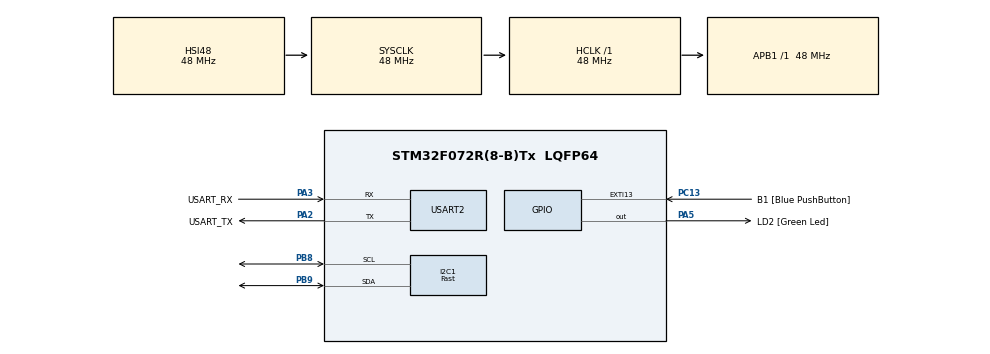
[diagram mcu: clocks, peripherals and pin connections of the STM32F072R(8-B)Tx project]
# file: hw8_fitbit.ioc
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FREERTOS.Tasks01=defaultTask,24,128,StartDefaultTask,Default,NULL,Dynamic,NULL,NULL
I2C1.I2C_Speed_Mode=I2C_Fast
I2C1.Timing=0x0000020B
Mcu.Family=STM32F0
Mcu.Name=STM32F072R(8-B)Tx
Mcu.Package=LQFP64
NVIC.I2C1_IRQn=true\:3\:0\:false\:false\:true\:true\:true\:true
NVIC.TIM1_BRK_UP_TRG_COM_IRQn=true\:0\:0\:false\:false\:true\:false\:false\:true
NVIC.TIM6_DAC_IRQn=true\:3\:0\:false\:false\:true\:true\:true\:true
NVIC.TimeBase=TIM1_BRK_UP_TRG_COM_IRQn
NVIC.TimeBaseIP=TIM1
PA13.GPIO_Label=TMS
PA13.Mode=Serial_Wire
PA13.Signal=SYS_SWDIO
PA14.GPIO_Label=TCK
PA14.Mode=Serial_Wire
PA14.Signal=SYS_SWCLK
PA2.GPIO_Label=USART_TX
PA2.GPIO_Mode=GPIO_MODE_AF_PP
PA2.GPIO_PuPd=GPIO_NOPULL
PA2.GPIO_Speed=GPIO_SPEED_FREQ_LOW
PA2.Mode=Asynchronous
PA2.Signal=USART2_TX
PA3.GPIO_Label=USART_RX
PA3.GPIO_Mode=GPIO_MODE_AF_PP
PA3.GPIO_PuPd=GPIO_NOPULL
PA3.GPIO_Speed=GPIO_SPEED_FREQ_LOW
PA3.Mode=Asynchronous
PA3.Signal=USART2_RX
PA5.GPIO_Label=LD2 [Green Led]
PA5.GPIO_Mode=GPIO_MODE_OUTPUT_PP
PA5.GPIO_PuPd=GPIO_NOPULL
PA5.GPIO_Speed=GPIO_SPEED_FREQ_LOW
PA5.Signal=GPIO_Output
PB8.Mode=I2C
PB8.Signal=I2C1_SCL
PB9.Mode=I2C
PB9.Signal=I2C1_SDA
PC13.GPIO_Label=B1 [Blue PushButton]
PC13.GPIO_ModeDefaultEXTI=GPIO_MODE_IT_FALLING
PC13.Signal=GPXTI13
PC14-OSC32_IN.Mode=LSE-External-Oscillator
PC14-OSC32_IN.Signal=RCC_OSC32_IN
PC15-OSC32_OUT.Mode=LSE-External-Oscillator
PC15-OSC32_OUT.Signal=RCC_OSC32_OUT
PF0-OSC_IN.Mode=HSE-External-Clock-Source
PF0-OSC_IN.Signal=RCC_OSC_IN
PF1-OSC_OUT.Signal=RCC_OSC_OUT
ProjectManager.HeapSize=0x200
ProjectManager.StackSize=0x400
ProjectManager.TargetToolchain=STM32CubeIDE
RCC.AHBFreq_Value=48000000
RCC.APB1Freq_Value=48000000
RCC.APB1TimFreq_Value=48000000
RCC.FLatency-AdvancedSettings=FLASH_LATENCY_1
RCC.HCLKFreq_Value=48000000
RCC.PLLDivider=RCC_PREDIV_DIV2
RCC.PLLMUL=RCC_PLL_MUL12
RCC.PREFETCH_ENABLE-AdvancedSettings=1
RCC.SYSCLKFreq_VALUE=48000000
RCC.SYSCLKSource=RCC_SYSCLKSOURCE_HSI48
TIM14.Period=9999
TIM14.Prescaler=479
TIM15.Period=9999
TIM15.Prescaler=47900
TIM16.Period=20000
TIM16.Prescaler=47900
TIM2.Period=100000000
TIM2.Prescaler=48
TIM6.AutoReloadPreload=TIM_AUTORELOAD_PRELOAD_ENABLE
TIM6.Period=9999
TIM6.Prescaler=47900
TIM6.TIM_MasterOutputTrigger=TIM_TRGO_RESET
TIM7.Period=20000
TIM7.Prescaler=479
USART2.VirtualMode=VM_ASYNC
USART2.VirtualMode-Asynchronous=VM_ASYNC
VP_FREERTOS_VS_CMSIS_V2.Mode=CMSIS_V2
VP_SYS_VS_tim1.Mode=TIM1
VP_TIM14_VS_ClockSourceINT.Mode=Enable_Timer
VP_TIM15_VS_ClockSourceINT.Mode=Internal
VP_TIM16_VS_ClockSourceINT.Mode=Enable_Timer
VP_TIM2_VS_ClockSourceINT.Mode=Internal
VP_TIM6_VS_ClockSourceINT.Mode=Enable_Timer
VP_TIM7_VS_ClockSourceINT.Mode=Enable_Timer
board=NUCLEO-F072RB

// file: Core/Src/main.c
/* USER CODE BEGIN Header */
/**
  ******************************************************************************
  * @file           : main.c
  * @brief          : Main program body
  ******************************************************************************
  * @attention
  *
  * <h2><center>&copy; Copyright (c) 2020 STMicroelectronics.
  * All rights reserved.</center></h2>
  *
  * This software component is licensed by ST under BSD 3-Clause license,
  * the "License"; You may not use this file except in compliance with the
  * License. You may obtain a copy of the License at:
  *                        opensource.org/licenses/BSD-3-Clause
  *
  ******************************************************************************
  */
/* USER CODE END Header */

#include "main.h"
#include "cmsis_os.h"

/* USER CODE BEGIN Includes */
#include <stdio.h>
#include <stdlib.h>
#include <stdint.h>
#include <string.h>
#include <math.h>
#include "retarget.h"
#include "hw8_heartRate.h"
/* USER CODE END Includes */

I2C_HandleTypeDef hi2c1;

TIM_HandleTypeDef htim2;
TIM_HandleTypeDef htim6;
TIM_HandleTypeDef htim7;
TIM_HandleTypeDef htim14;
TIM_HandleTypeDef htim15;
TIM_HandleTypeDef htim16;

UART_HandleTypeDef huart2;

osThreadId_t defaultTaskHandle;
/* USER CODE BEGIN PV */
#define MPU6500_ADDR 0x68<<1				// ACCELEROMETER //
#define MPU6500_RA_WHO_AM_I 0x75			// who am i???
int accel_cnt = 0;							// sample count
int ac_avg_cnt = 0;							// count for averaging accelerations
int32_t ax_avg, ay_avg, az_avg;				// averages for accel
int32_t avg;
int time_accel_raw;							// acceleration time
int time_accel;								// acceleration time
int32_t ax, ay, az, xangle, yangle;			// acceleration X,Y,Z and X angle and Y angle
uint8_t bud[6];								// buffer to read raw accel data
mpu_sample_t sample_accel;					// accel struct to r/w to
mpu_sample_t accel_o;						// accel struct to r/w to

osThreadId_t TID1, TID2, TID3;				// THREADS //
osMutexId_t I2C1_MUTEX_ID;					// mutex
osMessageQueueId_t QUEUE_ID, A_QUEUE_ID;	// queues
char printbuf[1000];						// print buffer
#define MSGQUEUE_OBJECTS 16					// something defined in example so why not

#define MAX30102_ADDR 0xae					// HEARTRATE MONITOR //
#define MAX30102_PARTID 0xFF				// HR ID
#define Mode_Config 0x09					// was going to #define each ADDR for MAX30102 but got lazy
uint8_t buf[6];								// buffer for HR monitor set up and read
uint8_t bul[6];								// buffer to read hr from
uint32_t heart_sample, another_hr;			// heartrate samples
uint32_t heartrate[4], hr[10];				// arrays to average HR
int count1 = 0, count2 = 0, count3 = 0;		// counters for hr sample processing
int hr1, hr2, hr_read1 = 0, hr_read2 = 0;	// current & old count of HR samples
const int num_beats = 10;					// for smoothing/averaging 10 beats
int hr_cnt = 0;								// current count of hr samples read (debugging)
int hr_10cnt = 0;							// counter to not start displaying bpm
int hr_time_raw = 0, hr_time = 0;			// time it takes to read num of hr_cnt (debugging)
int hr_total = 0;							// smoothing var
int hr_FINAL = 0;							// final HR to print
int hr_current = 0;							// smoothing var
int old_hr_reading = 0;						// 1 if old reading, 0 otherwise
typedef struct{								// struct for HR QUEUE
	uint32_t hr_buf;						// heart rate buffer
	uint8_t Idx;							// id bc it was in the example so why not
} MSGQUEUE_OBJ_t;							// name of struct
MSGQUEUE_OBJ_t msg;							// declare a struct for hr
int total_time = 0;							// total time passed of program
uint8_t last_beat = 1;						// instance var for measuring time since last beat
int last_beat_time = 0;					// variable to store time count of first beat

uint8_t var1;								// DOUBLE TAP //
uint32_t prev_z = 0;						// Store previous z reading for comparison
uint32_t thresh = 3000;  					// CHANGE depending on force for tap
uint32_t lat = 40;							// CHANGE depending on how fast Z is read
uint8_t start_up_tap = 0;					// tap count for initial start up
uint8_t start_up = 0;						// instance for triple tap condition
int tap = 0;								// current tap count
uint8_t mode = 1;							// current mode count
uint8_t mode2_delay1 = 0, mode2_delay2 = 0;	// checkForBeat returns twice per beat (for most part), reduce to once per beat
uint8_t display_mode = 0;					// a random counter
uint8_t idle_mode = 0, init_hr = 1;			// 1 if idle mode is entered. 1 if need to initialize hr monitor

/* USER CODE END PV */

void SystemClock_Config(void);
static void MX_GPIO_Init(void);
static void MX_USART2_UART_Init(void);
static void MX_I2C1_Init(void);
static void MX_TIM6_Init(void);
static void MX_TIM7_Init(void);
static void MX_TIM2_Init(void);
static void MX_TIM14_Init(void);
static void MX_TIM15_Init(void);
static void MX_TIM16_Init(void);
void StartDefaultTask(void *argument);

/* USER CODE BEGIN PFP */
void ThreadFunc1(void *argument);
void ThreadFunc2(void *argument);
void ThreadFunc3(void *argument);

void HAL_TIM_PeriodElapsedCallback(TIM_HandleTypeDef* htim);
void HAL_I2C_MemRxCpltCallback(I2C_HandleTypeDef* hi2c);
void HAL_I2C_ErrorCallBack(I2C_HandleTypeDef *hi2c);
void UART2_SendString(char* printbuf);
void initialize_HR();

HAL_StatusTypeDef HAL_TIM_Base_Start(TIM_HandleTypeDef *htim);

/* USER CODE END PFP */

int main(void)
{

  /* MCU Configuration--------------------------------------------------------*/

  /* Reset of all peripherals, Initializes the Flash interface and the Systick. */
  HAL_Init();

  /* Configure the system clock */
  SystemClock_Config();

  /* Initialize all configured peripherals */
  MX_GPIO_Init();
  MX_USART2_UART_Init();
  MX_I2C1_Init();
  MX_TIM6_Init();
  MX_TIM7_Init();
  MX_TIM2_Init();
  MX_TIM14_Init();
  MX_TIM15_Init();
  MX_TIM16_Init();
  /* USER CODE BEGIN 2 */
  HAL_TIM_Base_Start(&htim2);	//double tap timer
  HAL_TIM_Base_Start(&htim7);	//heart rate timer
  HAL_TIM_Base_Start(&htim6);	//interrupt timer
  HAL_TIM_Base_Start(&htim14);	//acceleration timer
  HAL_TIM_Base_Start(&htim15);	//longer timer to test
  HAL_TIM_Base_Start(&htim16);	//acceleration samples per second timer

  HAL_I2C_Init(&hi2c1);
  HAL_TIM_Base_Start_IT(&htim6);
  HAL_TIM_Base_MspInit(&htim6);

  RetargetInit(&huart2);

  // Print some nice info //
  printf("\r\n\r\nhello world!\r\n");					// the usual
  HAL_I2C_Mem_Read(&hi2c1, MPU6500_ADDR, MPU6500_RA_WHO_AM_I,I2C_MEMADD_SIZE_8BIT, bud, 1, 100);
  printf("Accelerometer ID = 0x%x \r\n", bud[0]);		// accelerometer ID = 0x70

  //heart rate monitor
  HAL_I2C_Mem_Read(&hi2c1, MAX30102_ADDR, MAX30102_PARTID, I2C_MEMADD_SIZE_8BIT, bul, 1, 100);
  printf("Heartrate monitor ID = 0x%x \r\n", bul[0]);   // HR ID = 0x15

  printf("\r\nRest finger on HR monitor for 10 heart beats to calibrate properly. . .\r\n"
		  "Keep finger as still as possible for best reading. Sometimes thumb gets better reading . . .\r\n"
		  "In HEARTBEAT MODE, press finger hard on sensor for best beat detections (otherwise may double read),\r\n"
		  "		though pressing too hard may give inaccurate BPMs. . .\r\n");
  printf("Have the serial monitor wide enough so it is wide enough to read this entireeeeeeeeeeeeeeeee line of text.\r\n\r\n");

  printf("Double tap to toggle between THREE MODES:\r\n\t-[1] SUMMARY MODE\r\n\t"
		  "-[2] HEARTBEAT MODE\r\n\t-[3] IDLE MODE\r\n\r\n");

  printf("--------------- TRIPLE TAP TO BEGIN ---------------\r\n\r\n");

  /* USER CODE END 2 */

  osKernelInitialize();

  /* USER CODE BEGIN RTOS_MUTEX */
  /* add mutexes, ... */
  I2C1_MUTEX_ID = osMutexNew(NULL);
  /* USER CODE END RTOS_MUTEX */

  /* USER CODE BEGIN RTOS_QUEUES */
  /* add queues, ... */
  //osMessageQueueId_t osMessageQueueNew (uint32_t msg_count, uint32_t msg_size, const osMessageQueueAttr_t *attr);
  QUEUE_ID =  osMessageQueueNew(MSGQUEUE_OBJECTS, sizeof(MSGQUEUE_OBJ_t), NULL);	//HR queue
  A_QUEUE_ID =  osMessageQueueNew(16, 8, NULL);										//accel queue
  /* USER CODE END RTOS_QUEUES */

  /* Create the thread(s) */
  /* definition and creation of defaultTask */
  const osThreadAttr_t defaultTask_attributes = {
    .name = "defaultTask",
    .priority = (osPriority_t) osPriorityNormal,
    .stack_size = 128 * 4
  };
  defaultTaskHandle = osThreadNew(StartDefaultTask, NULL, &defaultTask_attributes);

  /* USER CODE BEGIN RTOS_THREADS */
  /* add threads, ... */

//  const osThreadAttr_t lowdefaultTask_attributes = {
//      .name = "lowdefaultTask",
//      .priority = (osPriority_t) osPriorityBelowNormal,
//      .stack_size = 128 * 4
//    };

  TID1 = osThreadNew(ThreadFunc1, NULL, NULL);		// HR
  TID2 = osThreadNew(ThreadFunc2, NULL, NULL);		// accel
  TID3 = osThreadNew(ThreadFunc3, NULL, NULL);		// printing

  /* USER CODE END RTOS_THREADS */

  /* Start scheduler */
  osKernelStart();

  /* We should never get here as control is now taken by the scheduler */

  /* Infinite loop */
  while (1)
  {

  }
}

void SystemClock_Config(void)
{
  RCC_OscInitTypeDef RCC_OscInitStruct = {0};
  RCC_ClkInitTypeDef RCC_ClkInitStruct = {0};
  RCC_PeriphCLKInitTypeDef PeriphClkInit = {0};

  /** Initializes the CPU, AHB and APB busses clocks
  */
  RCC_OscInitStruct.OscillatorType = RCC_OSCILLATORTYPE_HSI|RCC_OSCILLATORTYPE_HSI48;
  RCC_OscInitStruct.HSIState = RCC_HSI_ON;
  RCC_OscInitStruct.HSI48State = RCC_HSI48_ON;
  RCC_OscInitStruct.HSICalibrationValue = RCC_HSICALIBRATION_DEFAULT;
  RCC_OscInitStruct.PLL.PLLState = RCC_PLL_NONE;
  if (HAL_RCC_OscConfig(&RCC_OscInitStruct) != HAL_OK)
  {
    Error_Handler();
  }
  /** Initializes the CPU, AHB and APB busses clocks
  */
  RCC_ClkInitStruct.ClockType = RCC_CLOCKTYPE_HCLK|RCC_CLOCKTYPE_SYSCLK
                              |RCC_CLOCKTYPE_PCLK1;
  RCC_ClkInitStruct.SYSCLKSource = RCC_SYSCLKSOURCE_HSI48;
  RCC_ClkInitStruct.AHBCLKDivider = RCC_SYSCLK_DIV1;
  RCC_ClkInitStruct.APB1CLKDivider = RCC_HCLK_DIV1;

  if (HAL_RCC_ClockConfig(&RCC_ClkInitStruct, FLASH_LATENCY_1) != HAL_OK)
  {
    Error_Handler();
  }
  PeriphClkInit.PeriphClockSelection = RCC_PERIPHCLK_USART2|RCC_PERIPHCLK_I2C1;
  PeriphClkInit.Usart2ClockSelection = RCC_USART2CLKSOURCE_PCLK1;
  PeriphClkInit.I2c1ClockSelection = RCC_I2C1CLKSOURCE_HSI;
  if (HAL_RCCEx_PeriphCLKConfig(&PeriphClkInit) != HAL_OK)
  {
    Error_Handler();
  }
}

static void MX_I2C1_Init(void)
{

  hi2c1.Instance = I2C1;
  hi2c1.Init.Timing = 0x0000020B;
  hi2c1.Init.OwnAddress1 = 0;
  hi2c1.Init.AddressingMode = I2C_ADDRESSINGMODE_7BIT;
  hi2c1.Init.DualAddressMode = I2C_DUALADDRESS_DISABLE;
  hi2c1.Init.OwnAddress2 = 0;
  hi2c1.Init.OwnAddress2Masks = I2C_OA2_NOMASK;
  hi2c1.Init.GeneralCallMode = I2C_GENERALCALL_DISABLE;
  hi2c1.Init.NoStretchMode = I2C_NOSTRETCH_DISABLE;
  if (HAL_I2C_Init(&hi2c1) != HAL_OK)
  {
    Error_Handler();
  }
  /** Configure Analogue filter
  */
  if (HAL_I2CEx_ConfigAnalogFilter(&hi2c1, I2C_ANALOGFILTER_ENABLE) != HAL_OK)
  {
    Error_Handler();
  }
  /** Configure Digital filter
  */
  if (HAL_I2CEx_ConfigDigitalFilter(&hi2c1, 0) != HAL_OK)
  {
    Error_Handler();
  }

}

static void MX_TIM2_Init(void)
{

  TIM_ClockConfigTypeDef sClockSourceConfig = {0};
  TIM_MasterConfigTypeDef sMasterConfig = {0};

  htim2.Instance = TIM2;
  htim2.Init.Prescaler = 48;
  htim2.Init.CounterMode = TIM_COUNTERMODE_UP;
  htim2.Init.Period = 100000000;
  htim2.Init.ClockDivision = TIM_CLOCKDIVISION_DIV1;
  htim2.Init.AutoReloadPreload = TIM_AUTORELOAD_PRELOAD_DISABLE;
  if (HAL_TIM_Base_Init(&htim2) != HAL_OK)
  {
    Error_Handler();
  }
  sClockSourceConfig.ClockSource = TIM_CLOCKSOURCE_INTERNAL;
  if (HAL_TIM_ConfigClockSource(&htim2, &sClockSourceConfig) != HAL_OK)
  {
    Error_Handler();
  }
  sMasterConfig.MasterOutputTrigger = TIM_TRGO_RESET;
  sMasterConfig.MasterSlaveMode = TIM_MASTERSLAVEMODE_DISABLE;
  if (HAL_TIMEx_MasterConfigSynchronization(&htim2, &sMasterConfig) != HAL_OK)
  {
    Error_Handler();
  }

}

static void MX_TIM6_Init(void)
{

  TIM_MasterConfigTypeDef sMasterConfig = {0};

  htim6.Instance = TIM6;
  htim6.Init.Prescaler = 47900;
  htim6.Init.CounterMode = TIM_COUNTERMODE_UP;
  htim6.Init.Period = 9999;
  htim6.Init.AutoReloadPreload = TIM_AUTORELOAD_PRELOAD_ENABLE;
  if (HAL_TIM_Base_Init(&htim6) != HAL_OK)
  {
    Error_Handler();
  }
  sMasterConfig.MasterOutputTrigger = TIM_TRGO_RESET;
  sMasterConfig.MasterSlaveMode = TIM_MASTERSLAVEMODE_DISABLE;
  if (HAL_TIMEx_MasterConfigSynchronization(&htim6, &sMasterConfig) != HAL_OK)
  {
    Error_Handler();
  }

}

static void MX_TIM7_Init(void)
{

  TIM_MasterConfigTypeDef sMasterConfig = {0};

  htim7.Instance = TIM7;
  htim7.Init.Prescaler = 479;
  htim7.Init.CounterMode = TIM_COUNTERMODE_UP;
  htim7.Init.Period = 20000;
  htim7.Init.AutoReloadPreload = TIM_AUTORELOAD_PRELOAD_DISABLE;
  if (HAL_TIM_Base_Init(&htim7) != HAL_OK)
  {
    Error_Handler();
  }
  sMasterConfig.MasterOutputTrigger = TIM_TRGO_RESET;
  sMasterConfig.MasterSlaveMode = TIM_MASTERSLAVEMODE_DISABLE;
  if (HAL_TIMEx_MasterConfigSynchronization(&htim7, &sMasterConfig) != HAL_OK)
  {
    Error_Handler();
  }

}

static void MX_TIM14_Init(void)
{

  htim14.Instance = TIM14;
  htim14.Init.Prescaler = 479;
  htim14.Init.CounterMode = TIM_COUNTERMODE_UP;
  htim14.Init.Period = 9999;
  htim14.Init.ClockDivision = TIM_CLOCKDIVISION_DIV1;
  htim14.Init.AutoReloadPreload = TIM_AUTORELOAD_PRELOAD_DISABLE;
  if (HAL_TIM_Base_Init(&htim14) != HAL_OK)
  {
    Error_Handler();
  }

}

static void MX_TIM15_Init(void)
{

  TIM_ClockConfigTypeDef sClockSourceConfig = {0};
  TIM_MasterConfigTypeDef sMasterConfig = {0};

  htim15.Instance = TIM15;
  htim15.Init.Prescaler = 47900;
  htim15.Init.CounterMode = TIM_COUNTERMODE_UP;
  htim15.Init.Period = 9999;
  htim15.Init.ClockDivision = TIM_CLOCKDIVISION_DIV1;
  htim15.Init.RepetitionCounter = 0;
  htim15.Init.AutoReloadPreload = TIM_AUTORELOAD_PRELOAD_DISABLE;
  if (HAL_TIM_Base_Init(&htim15) != HAL_OK)
  {
    Error_Handler();
  }
  sClockSourceConfig.ClockSource = TIM_CLOCKSOURCE_INTERNAL;
  if (HAL_TIM_ConfigClockSource(&htim15, &sClockSourceConfig) != HAL_OK)
  {
    Error_Handler();
  }
  sMasterConfig.MasterOutputTrigger = TIM_TRGO_RESET;
  sMasterConfig.MasterSlaveMode = TIM_MASTERSLAVEMODE_DISABLE;
  if (HAL_TIMEx_MasterConfigSynchronization(&htim15, &sMasterConfig) != HAL_OK)
  {
    Error_Handler();
  }

}

static void MX_TIM16_Init(void)
{

  htim16.Instance = TIM16;
  htim16.Init.Prescaler = 47900;
  htim16.Init.CounterMode = TIM_COUNTERMODE_UP;
  htim16.Init.Period = 20000;
  htim16.Init.ClockDivision = TIM_CLOCKDIVISION_DIV1;
  htim16.Init.RepetitionCounter = 0;
  htim16.Init.AutoReloadPreload = TIM_AUTORELOAD_PRELOAD_DISABLE;
  if (HAL_TIM_Base_Init(&htim16) != HAL_OK)
  {
    Error_Handler();
  }

}

static void MX_USART2_UART_Init(void)
{

  huart2.Instance = USART2;
  huart2.Init.BaudRate = 38400;
  huart2.Init.WordLength = UART_WORDLENGTH_8B;
  huart2.Init.StopBits = UART_STOPBITS_1;
  huart2.Init.Parity = UART_PARITY_NONE;
  huart2.Init.Mode = UART_MODE_TX_RX;
  huart2.Init.HwFlowCtl = UART_HWCONTROL_NONE;
  huart2.Init.OverSampling = UART_OVERSAMPLING_16;
  huart2.Init.OneBitSampling = UART_ONE_BIT_SAMPLE_DISABLE;
  huart2.AdvancedInit.AdvFeatureInit = UART_ADVFEATURE_NO_INIT;
  if (HAL_UART_Init(&huart2) != HAL_OK)
  {
    Error_Handler();
  }

}

static void MX_GPIO_Init(void)
{
  GPIO_InitTypeDef GPIO_InitStruct = {0};

  /* GPIO Ports Clock Enable */
  __HAL_RCC_GPIOC_CLK_ENABLE();
  __HAL_RCC_GPIOF_CLK_ENABLE();
  __HAL_RCC_GPIOA_CLK_ENABLE();
  __HAL_RCC_GPIOB_CLK_ENABLE();

  /*Configure GPIO pin Output Level */
  HAL_GPIO_WritePin(LD2_GPIO_Port, LD2_Pin, GPIO_PIN_RESET);

  /*Configure GPIO pin : B1_Pin */
  GPIO_InitStruct.Pin = B1_Pin;
  GPIO_InitStruct.Mode = GPIO_MODE_IT_FALLING;
  GPIO_InitStruct.Pull = GPIO_NOPULL;
  HAL_GPIO_Init(B1_GPIO_Port, &GPIO_InitStruct);

  /*Configure GPIO pin : LD2_Pin */
  GPIO_InitStruct.Pin = LD2_Pin;
  GPIO_InitStruct.Mode = GPIO_MODE_OUTPUT_PP;
  GPIO_InitStruct.Pull = GPIO_NOPULL;
  GPIO_InitStruct.Speed = GPIO_SPEED_FREQ_LOW;
  HAL_GPIO_Init(LD2_GPIO_Port, &GPIO_InitStruct);

}

/* USER CODE BEGIN 4 */

//Thread for reading heartrate monitor at 50 samples per second, 			uses htim7
void ThreadFunc1(void *argument){
	(&htim7)->Instance->CNT = 0;
	(&htim6)->Instance->CNT = 0;
	while(1){
		// DON'T aquire Mutex unless timing is correct
		if ((&htim7)->Instance->CNT > 900 && mode != 3 &&osMutexAcquire(I2C1_MUTEX_ID, 0) == osOK){	// og is 1000, played with timing
			if(init_hr == 1) {
				initialize_HR();
				init_hr = 0;
			}
			HAL_I2C_Mem_Read(&hi2c1, MAX30102_ADDR, 0x00, I2C_MEMADD_SIZE_8BIT,  		//REG ADDR: 0x00
					(uint8_t *) buf, 1, 100);		//Poll Interrupt Status 1 register until PPG_RDY bit goes high
			while((buf[0] >> 6 & 0x1) != 1){
				HAL_I2C_Mem_Read(&hi2c1, MAX30102_ADDR, 0x00, I2C_MEMADD_SIZE_8BIT,  	//REG ADDR: 0x00
					(uint8_t *) buf, 1, 100);		//Poll Interrupt Status 1 register until PPG_RDY bit goes high
			}
			HAL_I2C_Mem_Read(&hi2c1, MAX30102_ADDR, 0x07, I2C_MEMADD_SIZE_8BIT, (uint8_t *) buf, 3, 100);
			msg.hr_buf = (buf[0] << 16) + (buf[1] << 8) + buf[2];

			osMessageQueuePut(QUEUE_ID, &msg, 0 , 0);		//returns osOK

			hr_cnt++;
			if(hr_cnt == 50){		//calibrate/check 50 samples/second
				hr_time_raw = (&htim6)->Instance->CNT;
				hr_cnt = 0;
				(&htim6)->Instance->CNT = 0;	//use to check time to run for samples/second
			}
			(&htim7)->Instance->CNT = 0;
			osMutexRelease(I2C1_MUTEX_ID);
			osThreadYield();
		}
	}
}

// Thread for Accelerometer at 200 samples per second, 					   	uses htim14 & htim16
void ThreadFunc2(void *argument){
//	UART2_SendString("Thread 2 entered\r\n");
	accel_cnt = 0;
	(&htim14)->Instance->CNT = 0;										// 200Hz timer
	(&htim16)->Instance->CNT = 0;										// accel samples per second timer
	while(1){				// DON'T aquire Mutex unless timing is correct
		if ((&htim14)->Instance->CNT > 140 && osMutexAcquire(I2C1_MUTEX_ID, 0) == osOK){ //og is 200, played with timing

			HAL_I2C_Mem_Read(&hi2c1, MPU6500_ADDR, MPU6500_RA_ACCEL_XOUT_H, I2C_MEMADD_SIZE_8BIT, bud, 6, 100);
			sample_accel.accelX = (bud[0] << 8) + bud[1]; // X axis
			sample_accel.accelY = (bud[2] << 8) + bud[3]; // Y axis
			sample_accel.accelZ = (bud[4] << 8) + bud[5]; // Z axis

			osMessageQueuePut(A_QUEUE_ID, &sample_accel, 1 , 0);		// returns osOK

			accel_cnt++;												// add counter for num samples read
			if(accel_cnt == 200){										// Once 200 samples are read
				time_accel_raw = (&htim16)->Instance->CNT;				// get time it takes to read 200 samples
				accel_cnt = 0;											// reset counter for samples read
				(&htim16)->Instance->CNT = 0;							// reset timer for accel samples/sec
			}

			(&htim14)->Instance->CNT = 0;
			osMutexRelease(I2C1_MUTEX_ID);
			osThreadYield();
		}
	}
}

// Thread to Print data													// uses htim15
void ThreadFunc3(void *argument){						// TA said don't need to explicitly make lower priority
	//printf("thread 3 reached\r\b");
	hr1 = 0, hr2 = 0;					// set heart rate counts to 0
	count1 = 0,	count2 = 0;				// counters for heart rate

	ax = 0,	ay = 0, az = 0;				// acceleration vars
	ax_avg = 0, ay_avg = 0, az_avg = 0;	// acceleration average vars
	xangle = 0, yangle = 0;				// acceleration angles
	time_accel = 0;
	tap = 0;

	(&htim15)->Instance->CNT = 0;
	(&htim2)->Instance->CNT = 0;
	while(1){
		if (osMutexAcquire(I2C1_MUTEX_ID, 0) == osOK){
//			UART2_SendString("Thread 3 aquired\r\n");

//			// Get from QUEUE //
			osMessageQueueGet(QUEUE_ID, &msg, NULL, 0);					// returns osOK for HR
			osMessageQueueGet(A_QUEUE_ID, &sample_accel, NULL, 0);		// returns osOK for Accel

//			// DOUBLE TAP BEGIN //
			// -single tap- //
			if(abs(sample_accel.accelZ - prev_z) > thresh && tap < 1){
				tap = 1;
				(&htim2)->Instance->CNT = 0;
			  }
			// -double tap- //
			if(tap >= lat){  								  // condition of lat is to wait for excess noise to pass
				if(abs(sample_accel.accelZ - prev_z) > thresh && (&htim2)->Instance->CNT < 250000){
					if(start_up_tap){
						mode++;
						if (mode >= 4) mode = 1;
						sprintf(printbuf,"Double tap! Switching to mode [%d]. . .\r\n", mode);
						HAL_UART_Transmit(&huart2, (uint8_t *)printbuf, strlen(printbuf), 100);
						display_mode = 1;
						tap = 0;
					}
					(&htim2)->Instance->CNT = 0;
					start_up = 1;
				} else if((&htim2)->Instance->CNT >250000){
					tap = 0;
					(&htim2)->Instance->CNT = 0;
				}
			}
			// -triple tap cuz why not- //
			if(!start_up_tap && start_up && tap >= 2 * lat){  // condition of lat is to wait for excess noise to pass
				if(abs(sample_accel.accelZ - prev_z) > thresh && (&htim2)->Instance->CNT < 250000){
					sprintf(printbuf,"---------- Triple tap detected! Starting MODE [1] ----------\r\n");
					display_mode = 1;
					HAL_UART_Transmit(&huart2, (uint8_t *)printbuf, strlen(printbuf), 100);
					start_up_tap = 1;
					tap = 0;
				} else if((&htim2)->Instance->CNT > 250000){
					tap = 0;
					(&htim2)->Instance->CNT = 0;
				}
			}
			if(tap >= 1) tap++;
			prev_z = sample_accel.accelZ;
//			// DOUBLE TAP END //

//			// MODE DISPLAY BEGIN //
			if(display_mode){										// only print MODE if double tap detected
				switch(mode){
				case 1:
					UART2_SendString("[1] SUMMARY MODE\r\n");		// print current mode
					UART2_SendString("(total    )|    X |     Y |     Z |(Xdeg,Ydeg)| Accel.,  HR | Heartrate"
						"\r\n(time     )|\t  |\t  |\t  |\t      | samples per | BPM\r\n(elapsed  )|");
					UART2_SendString("\t  |\t  |\t  |\t      | second      |\r\n\r");
					display_mode = 0;								// don't print again until next double tap
					init_hr = 1;									// need to initialize HR after SHDN in MODE [3]
					break;
				case 2:
					UART2_SendString("[2] HEARTBEAT MODE - Prints when a heartbeat is detected!\r\n");
					UART2_SendString("[t elasped]| Pulse detected? |Time since|  Heartrate (BPM)\r\n             last beat\r\n");
					display_mode = 0;
					break;
				case 3:
					UART2_SendString("[3] IDLE MODE - double tap to wake up\r\n");
					display_mode = 0;
					idle_mode = 1;
					break;
				default:
					UART2_SendString("no mode selected somehow\r\n");//should never run
					display_mode = 0;
				}
			}
//			// MODE DISPLAY END //

//  		// ACCELEROMETER BEGIN //
			if(mode == 1){
				time_accel = (200 * 1000) / time_accel_raw;			// accel samples per second
				hr_time    = (50 * 1000) / hr_time_raw;				// heartrate samples per second

				ax = sample_accel.accelX;							// add up samples to average (wasn't as clean so taken out)
				ay = sample_accel.accelY;
				az = sample_accel.accelZ;
				if(accel_cnt == 199){ 				// avg and third degree polynomial regression models,
//					ax_avg = ax/time_accel;			// don't calculate too often to prevent wasted resources
//					ay_avg = ay/time_accel;
//					az_avg = az/time_accel;
					xangle = 3.87+(ax*-2.65*pow(10,-3))+(1.34*pow(10,-8)*pow(ax,2))+(-1.03*pow(10,-11)*pow(ax,3));
					yangle = 3.52+(ay*-2.72*pow(10,-3))+(-8.56*pow(10,-9)*pow(ay,2))+(-9.83*pow(10,-12)*pow(ay,3));
				}
			}
// 			// ACCELEROMETER END //

//			// HEART RATE BEGIN //
			if(mode == 1 || mode == 2){			// only run HR processing if [1] HR MODE or [3] SUMMARY MODE
				heart_sample = msg.hr_buf;									// get sample from buffer
//				heartrate[count3] = heart_sample;							// average the last four heartrate readings (doesn't seem as accurate)
//				another_hr = (heartrate[0]+heartrate[1]+heartrate[2]+heartrate[3])/4; //average last 4 readings using infinite loop array
				count1++;													// update sample count
				if(checkForBeat(heart_sample) == 1 && heart_sample > 6000){	// checkForBeat, true if beat detected
					hr2 = hr1;												// save current sample count
					hr1 = count1;											// save previous sample count
					hr_10cnt++;
					if(hr_read1 < 1) hr_read1 = 1;							// pulse is identified
				}
			    if(hr2 != hr1) {									// calculate heartrate
					old_hr_reading = 0;
					hr_current = (50 * 60) * 2 / (hr1-hr2);	// samples/sec to bpm  =  (50 * 60) / (hr1-hr2);
					if(!(hr_current < 15)){							// get rid of bad apple readings
						hr_total = hr_total - hr[count2];			// smoothing algorithm using last ten samples (hr[10])
						hr[count2] = hr_current;
						hr_total = hr_total + hr[count2];
						count2++;
						if(count2 >= num_beats) count2 = 0;
						hr_FINAL = hr_total / num_beats;			// FINAL HR reading after smoothin'
						hr2 = hr1;
					}
				} else {
					old_hr_reading = 1;								// indicate it's an old reading
				}
			    last_beat_time = 60 * 1000 / hr_FINAL;				// time since last beat, mult by 60, x1000 for visibility
//				count3++;											// add to infinite loop
//				if(count3 >= 4) count3 = 0;							// reset infinite loop
			}
//			// HEART RATE END //

//			// IDLE MODE BEGIN //
			if (mode == 3 && idle_mode == 1){
				idle_mode = 0;
				var1 = 0x80;
				if(HAL_I2C_Mem_Write(&hi2c1, MAX30102_ADDR, Mode_Config, I2C_MEMADD_SIZE_8BIT,	//Bit 6 in "Mode Config," ADDR:0x09
					(uint8_t *) &var1, 1, 100) == HAL_OK){			//SHDN shut down pin set high
					var1 = 0x00;
					UART2_SendString("HR Monitor Shutting Down . . .\r\n");
				}
			}
//			// IDLE MODE END //

//			// PRINT BEGIN //
		if((&htim15)->Instance->CNT > 1000 && start_up_tap == 1){		// timer to print every second, don't start until triple tap
			if(mode == 1){				// 3 [1] SUMMARY MODE
				total_time++;																// add every second
				sprintf(printbuf, "(%2dm%2ds) | %6ld |%6ld |%6ld |", total_time/60,total_time%60, ax, ay, az);	//print time elapsed in min and sec
				HAL_UART_Transmit(&huart2, (uint8_t *)printbuf, strlen(printbuf), 100);		// print accelerations in x y z
				sprintf(printbuf, " (%3ld,%3ld)||", xangle, yangle);	// print X and Y angles
				HAL_UART_Transmit(&huart2, (uint8_t *)printbuf, strlen(printbuf), 100);
				sprintf(printbuf, "%5d %5d || ", time_accel, hr_time);						// print acceleration samples per sec.
				HAL_UART_Transmit(&huart2, (uint8_t *)printbuf, strlen(printbuf), 100);
				if(heart_sample < 5000 && hr_FINAL < 10){									// HR printing, first read
					sprintf(printbuf, "Please place finger.\r\n");
				} else if(heart_sample < 5000){												// HR printing, finger removed
					sprintf(printbuf, "%3d is last reading. Please place finger.\r\n", hr_FINAL);
					hr_10cnt = 0;
				} else if(hr_10cnt < 10){													// HR calibrating until reads 10 beats
					sprintf(printbuf, "%3d calibrating . . .\r\n", hr_FINAL);
				} else {																	// HR printing, actively reading
					sprintf(printbuf, "%3d\r\n", hr_FINAL);
				}
				HAL_UART_Transmit(&huart2, (uint8_t *)printbuf, strlen(printbuf), 100);
				(&htim15)->Instance->CNT = 0;												// reset one sec timer
			} else {
				total_time++;
				(&htim15)->Instance->CNT = 0;
			}
		}

		if(mode == 2 && hr_read1 == 1){		// 1 [2] HEART RATE MODE, print any time when pulse detected (only detect first pulse)
			sprintf(printbuf,"(%2dm%2ds)   | Pulse detected! |", total_time/60,total_time%60);			// run time
			HAL_UART_Transmit(&huart2, (uint8_t *)printbuf, strlen(printbuf), 100);
			sprintf(printbuf," (%2d.%03d) | ", last_beat_time/1000, last_beat_time%1000);	// time since last beat, in sec.
			HAL_UART_Transmit(&huart2, (uint8_t *)printbuf, strlen(printbuf), 100);
			if(heart_sample < 5000 && hr_FINAL < 10){									// HR printing, first read
				sprintf(printbuf, "Please place finger.\r\n");
			} else if(heart_sample < 5000){												// HR printing, finger removed
				sprintf(printbuf, "%3d is last reading. Please place finger.\r\n", hr_FINAL);
				hr_10cnt = 0;
			} else if(hr_10cnt < 10){													// HR calibrating until reads 10 beats
				sprintf(printbuf, "%3d calibrating . . .\r\n", hr_FINAL);
			} else {																	// HR printing, actively reading
				sprintf(printbuf, "%3d\r\n", hr_FINAL);
			}
			HAL_UART_Transmit(&huart2, (uint8_t *)printbuf, strlen(printbuf), 100);
			hr_read1 = 2;
		}
		if(hr_read1 == 2) hr_read1 = 0;
//		if(hr_read1 == 1){
//			hr_read1 = 2;				// reset read pulse
//		} else if (hr_read1 == 2){
//			hr_read1 = 0;				// reset read pulse delay one beat
//		}
//			// PRINT END //

			osMutexRelease(I2C1_MUTEX_ID);
			osThreadYield();
		}
	}
}

// Function to print
void UART2_SendString(char* printbuf){
	HAL_UART_Transmit(&huart2, (uint8_t *)printbuf, strlen(printbuf), 100);
}

// When called, initializes heart rate monitor MAX30102
void initialize_HR(){
	if(init_hr == 1){		// initialize HR monitor
		init_hr = 0;
		var1 = 0x40;
		HAL_I2C_Mem_Write(&hi2c1, MAX30102_ADDR, Mode_Config, I2C_MEMADD_SIZE_8BIT,	//Bit 6 in "Mode Config," ADDR:0x09
							(uint8_t *) &var1, 1, 100);								//RESET, gives HAL_OK
		HAL_I2C_Mem_Read(&hi2c1, MAX30102_ADDR, Mode_Config, I2C_MEMADD_SIZE_8BIT,
				(uint8_t *) buf, 1, 100);
		while(buf[0] == 0x40){														//While reset pin reads 1, wait until it reads 0.
			HAL_I2C_Mem_Read(&hi2c1, MAX30102_ADDR, Mode_Config, I2C_MEMADD_SIZE_8BIT,
					(uint8_t *) buf, 1, 100);										//check current reset pin reading
		}
		var1 = 0b010;
		HAL_I2C_Mem_Write(&hi2c1, MAX30102_ADDR, Mode_Config, I2C_MEMADD_SIZE_8BIT,
					(uint8_t *) &var1, 1, 100);										//Write to Heart Rate Mode: MODE[2:0]=0b010
		var1 = 0x40;
		HAL_I2C_Mem_Write(&hi2c1, MAX30102_ADDR, 0x02, I2C_MEMADD_SIZE_8BIT,		//REG ADDR: 0x02
					(uint8_t *) &var1, 1, 100);										//Enable Interrupt Enable 1: PPG_READY interrupt (bit 6)
		HAL_I2C_Mem_Read(&hi2c1, MAX30102_ADDR, 0x02, I2C_MEMADD_SIZE_8BIT,
					(uint8_t *) buf, 1, 100);
		var1 = 0x63;
		HAL_I2C_Mem_Write(&hi2c1, MAX30102_ADDR, 0x0A, I2C_MEMADD_SIZE_8BIT,		//REG ADDR: 0x0A
					(uint8_t *) &var1, 1, 100);										//Write to SpO2 Config Register
		var1 = 0x1F;
		HAL_I2C_Mem_Write(&hi2c1, MAX30102_ADDR, 0x0C, I2C_MEMADD_SIZE_8BIT,		//REG ADDR: 0x1F
					(uint8_t *) &var1, 1, 100);										//Write to LED 1 Pulse Amplitude Register
		var1 = 0x00;
		HAL_I2C_Mem_Write(&hi2c1, MAX30102_ADDR, 0x04, I2C_MEMADD_SIZE_8BIT,		//REG ADDR: 0x04
					(uint8_t *) &var1, 1, 100);										//Write 0x00 to FIFO Write pointer
		HAL_I2C_Mem_Write(&hi2c1, MAX30102_ADDR, 0x05, I2C_MEMADD_SIZE_8BIT,		//REG ADDR: 0x05
					(uint8_t *) &var1, 1, 100);										//Write 0x00 to Overflow counter
		HAL_I2C_Mem_Write(&hi2c1, MAX30102_ADDR, 0x06, I2C_MEMADD_SIZE_8BIT,		//REG ADDR: 0x06
					(uint8_t *) &var1, 1, 100);										//Write 0x00 to FIFO Read pointer
//		UART2_SendString("HR Monitor Initialized\r\n");			// print to indicate HR monitor properly initialized
	}
}

/* USER CODE END 4 */

void StartDefaultTask(void *argument)
{
  for(;;)
  {
    osDelay(1);
  }
}

void HAL_TIM_PeriodElapsedCallback(TIM_HandleTypeDef *htim)
{
  /* USER CODE BEGIN Callback 0 */
//	osThreadNew(ThreadFunc3, NULL, NULL);
  /* USER CODE END Callback 0 */
  if (htim->Instance == TIM1) {
    HAL_IncTick();
  }
  /* USER CODE BEGIN Callback 1 */

//  count1++;
//  	printf("htim15: %d\r\n", (&htim15)->Instance->CNT);
  /* USER CODE END Callback 1 */
}

void Error_Handler(void)
{
}

/************************ (C) COPYRIGHT STMicroelectronics *****END OF FILE****/
